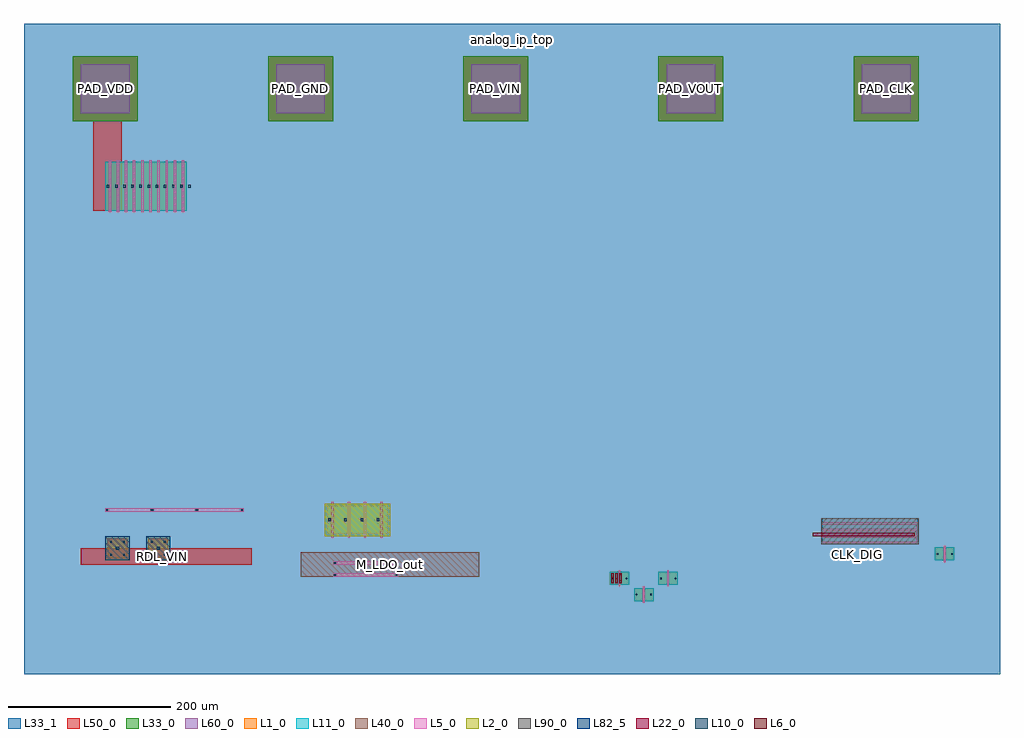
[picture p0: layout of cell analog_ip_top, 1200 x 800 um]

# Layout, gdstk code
import gdstk
lib = gdstk.Library(unit=1e-6, precision=1e-09)
def R(c, l, rs):  # rectangles x0, y0, x1, y1
    for r in rs: c.add(gdstk.rectangle(r[:2], r[2:], *l))
def A(c, l, x, y, w, h, nx, ny, dx, dy):  # array of equal rectangles
    R(c, l, [(x+i*dx, y+j*dy, x+i*dx+w, y+j*dy+h) for i in range(nx) for j in range(ny)])
L1_0 = (1, 0)
L2_0 = (2, 0)
L5_0 = (5, 0)
L6_0 = (6, 0)
L10_0 = (10, 0)
L11_0 = (11, 0)
L22_0 = (22, 0)
L33_0 = (33, 0)
L33_1 = (33, 1)
L40_0 = (40, 0)
L50_0 = (50, 0)
L60_0 = (60, 0)
L82_5 = (82, 5)
L90_0 = (90, 0)

bjt_pnp = lib.new_cell('BJT_PNP')
R(bjt_pnp, L1_0, [(3,3,27,27), (12,12,18,18)])
R(bjt_pnp, L2_0, [(0,0,30,30)])
R(bjt_pnp, L10_0, [(6,6,8,8), (22,6,24,8), (13,13,17,17), (6,22,8,24), (22,22,24,24)])
R(bjt_pnp, L11_0, [(13,13,17,17)])
R(bjt_pnp, L82_5, [(0,0,30,30)])

res_poly_60 = lib.new_cell('RES_POLY_60')
R(res_poly_60, L5_0, [(0,0,60,4)])
R(res_poly_60, L10_0, [(1,1,3,3), (57,1,59,3)])
R(res_poly_60, L11_0, [(0,0,5,4), (55,0,60,4)])

bandgap_ref = lib.new_cell('BANDGAP_REF')
R(bandgap_ref, L33_1, [(0,0,200,120)])
bandgap_ref.add(gdstk.Reference(bjt_pnp, (20,20)))
bandgap_ref.add(gdstk.Reference(bjt_pnp, (70,20)))
bandgap_ref.add(gdstk.Reference(res_poly_60, (20,80)))
bandgap_ref.add(gdstk.Reference(res_poly_60, (75,80)))
bandgap_ref.add(gdstk.Reference(res_poly_60, (130,80)))
bandgap_ref.add(gdstk.Label('Q1', (35,52), layer=200, texttype=0))
bandgap_ref.add(gdstk.Label('Q2', (85,52), layer=200, texttype=0))
bandgap_ref.add(gdstk.Label('R_ref', (50,90), layer=200, texttype=0))
bandgap_ref.add(gdstk.Label('BANDGAP_REF', (80,110), layer=200, texttype=0))

pmos_pass = lib.new_cell('PMOS_PASS')
R(pmos_pass, L1_0, [(2,2,78,38)])
R(pmos_pass, L2_0, [(0,0,80,40)])
A(pmos_pass, L5_0, 8, -2, 3, 44, 4, 1, 20, 0)
A(pmos_pass, L10_0, 4, 18, 3, 4, 4, 1, 20, 0)
R(pmos_pass, L11_0, [(0,0,80,40)])

res_poly_80 = lib.new_cell('RES_POLY_80')
R(res_poly_80, L5_0, [(0,0,80,4)])
R(res_poly_80, L10_0, [(1,1,3,3), (77,1,79,3)])
R(res_poly_80, L11_0, [(0,0,5,4), (75,0,80,4)])

ldo_reg = lib.new_cell('LDO_REG')
R(ldo_reg, L33_1, [(0,0,200,150)])
ldo_reg.add(gdstk.Reference(pmos_pass, (20,70)))
ldo_reg.add(gdstk.Reference(res_poly_80, (30,20)))
ldo_reg.add(gdstk.Reference(res_poly_80, (30,35)))
ldo_reg.add(gdstk.Label('M_pass', (40,115), layer=200, texttype=0))
ldo_reg.add(gdstk.Label('R_fb_top', (50,28), layer=200, texttype=0))
ldo_reg.add(gdstk.Label('R_fb_bot', (50,43), layer=200, texttype=0))
ldo_reg.add(gdstk.Label('LDO_REG', (80,140), layer=200, texttype=0))

mos_nmos = lib.new_cell('MOS_NMOS')
R(mos_nmos, L1_0, [(0,0,24,16)])
R(mos_nmos, L5_0, [(11,-2,13,18)])
R(mos_nmos, L10_0, [(2,7,4,9), (20,7,22,9)])
R(mos_nmos, L11_0, [(0,0,11,16), (13,0,24,16)])

comp_input = lib.new_cell('COMP_INPUT')
A(comp_input, L6_0, 22, 32, 3, 12, 3, 1, 5, 0)
R(comp_input, L33_1, [(0,0,180,80)])
comp_input.add(gdstk.Reference(mos_nmos, (20,30)))
comp_input.add(gdstk.Reference(mos_nmos, (80,30)))
comp_input.add(gdstk.Reference(mos_nmos, (50,10)))
comp_input.add(gdstk.Label('Mi_p', (32,50), layer=200, texttype=0))
comp_input.add(gdstk.Label('Mi_n', (92,50), layer=200, texttype=0))
comp_input.add(gdstk.Label('Mtail', (62,12), layer=200, texttype=0))
comp_input.add(gdstk.Label('COMP_INPUT', (70,70), layer=200, texttype=0))

ind_poly = lib.new_cell('IND_POLY')
A(ind_poly, L5_0, 0, 0, 120, 3, 1, 4, 0, 8)
A(ind_poly, L5_0, 117, 0, 3, 8, 1, 3, 0, 8)
R(ind_poly, L11_0, [(0,0,2,32), (118,0,120,32)])
R(ind_poly, L90_0, [(0,0,120,32)])

osc_lc = lib.new_cell('OSC_LC')
R(osc_lc, L33_1, [(0,0,200,150)])
osc_lc.add(gdstk.Reference(ind_poly, (30,40)))
osc_lc.add(gdstk.Reference(mos_nmos, (170,20)))
osc_lc.add(gdstk.Label('L_tank', (50,80), layer=200, texttype=0))
osc_lc.add(gdstk.Label('M_buf', (180,30), layer=200, texttype=0))
osc_lc.add(gdstk.Label('OSC_LC', (80,140), layer=200, texttype=0))

esd_clamp_nmos = lib.new_cell('ESD_CLAMP_NMOS')
R(esd_clamp_nmos, L1_0, [(0,0,100,60)])
A(esd_clamp_nmos, L5_0, 4, -2, 3, 64, 10, 1, 10, 0)
A(esd_clamp_nmos, L10_0, 2, 28, 3, 4, 11, 1, 10, 0)
R(esd_clamp_nmos, L11_0, [(0,0,100,60)])

esd_io = lib.new_cell('ESD_IO')
R(esd_io, L33_1, [(0,0,150,100)])
esd_io.add(gdstk.Reference(esd_clamp_nmos, (20,20)))
esd_io.add(gdstk.Label('M_clamp', (60,15), layer=200, texttype=0))
esd_io.add(gdstk.Label('ESD_IO', (60,90), layer=200, texttype=0))

pad = lib.new_cell('PAD')
R(pad, L33_0, [(0,0,80,80)])
R(pad, L50_0, [(0,0,80,80)])
R(pad, L60_0, [(10,10,70,70)])

analog_ip_top = lib.new_cell('analog_ip_top')
R(analog_ip_top, L22_0, [(970,170,1095,174)])
R(analog_ip_top, L33_1, [(0,0,1200,800)])
R(analog_ip_top, L40_0, [(340,120,560,150)])
R(analog_ip_top, L50_0, [(70,135,280,155), (85,570,120,690)])
analog_ip_top.add(gdstk.Reference(bandgap_ref, (80,120)))
analog_ip_top.add(gdstk.Reference(ldo_reg, (350,100)))
analog_ip_top.add(gdstk.Reference(comp_input, (700,80)))
analog_ip_top.add(gdstk.Reference(osc_lc, (950,120)))
analog_ip_top.add(gdstk.Reference(esd_io, (80,550)))
analog_ip_top.add(gdstk.Reference(pad, (60,680)))
analog_ip_top.add(gdstk.Reference(pad, (300,680)))
analog_ip_top.add(gdstk.Reference(pad, (540,680)))
analog_ip_top.add(gdstk.Reference(pad, (780,680)))
analog_ip_top.add(gdstk.Reference(pad, (1020,680)))
analog_ip_top.add(gdstk.Label('RDL_VIN', (170,145), layer=200, texttype=0))
analog_ip_top.add(gdstk.Label('M_LDO_out', (450,135), layer=200, texttype=0))
analog_ip_top.add(gdstk.Label('CLK_DIG', (1025,147), layer=200, texttype=0))
analog_ip_top.add(gdstk.Label('PAD_VDD', (100,720), layer=200, texttype=0))
analog_ip_top.add(gdstk.Label('PAD_GND', (340,720), layer=200, texttype=0))
analog_ip_top.add(gdstk.Label('PAD_VIN', (580,720), layer=200, texttype=0))
analog_ip_top.add(gdstk.Label('PAD_VOUT', (820,720), layer=200, texttype=0))
analog_ip_top.add(gdstk.Label('PAD_CLK', (1060,720), layer=200, texttype=0))
analog_ip_top.add(gdstk.Label('analog_ip_top', (600,780), layer=200, texttype=0))

lib.write_gds('analog_ip_top.gds')
